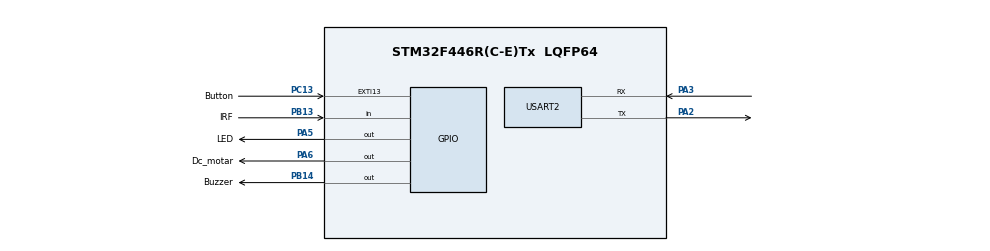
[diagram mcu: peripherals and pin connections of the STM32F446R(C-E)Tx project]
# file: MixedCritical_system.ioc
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FREERTOS.Events01=systemEvents,Dynamic,NULL
FREERTOS.Mutexes01=uartMutex,Dynamic,NULL,Available
FREERTOS.Tasks01=defaultTask,24,128,StartDefaultTask,Default,NULL,Dynamic,NULL,NULL;BreakTask,40,256,Start_Break_Task,Default,NULL,Dynamic,NULL,NULL;IRSensor,32,256,Start_IRSensor_Task,Default,NULL,Dynamic,NULL,NULL;MotorTask,25,256,Start_Motor_Task,Default,NULL,Dynamic,NULL,NULL;MonitorTask,26,256,Start_Monitor_Task,Default,NULL,Dynamic,NULL,NULL;LoggingTask,15,256,Start_Logging_Task,Default,NULL,Dynamic,NULL,NULL
FREERTOS.configUSE_IDLE_HOOK=1
FREERTOS.configUSE_NEWLIB_REENTRANT=1
Mcu.Family=STM32F4
Mcu.Name=STM32F446R(C-E)Tx
Mcu.Package=LQFP64
NVIC.EXTI15_10_IRQn=true\:5\:0\:false\:false\:true\:true\:true\:true\:true
NVIC.PriorityGroup=NVIC_PRIORITYGROUP_4
NVIC.TIM6_DAC_IRQn=true\:15\:0\:false\:false\:true\:false\:false\:true\:true
NVIC.TimeBase=TIM6_DAC_IRQn
NVIC.TimeBaseIP=TIM6
PA13.Mode=Serial_Wire
PA13.Signal=SYS_JTMS-SWDIO
PA14.Mode=Serial_Wire
PA14.Signal=SYS_JTCK-SWCLK
PA2.Mode=Asynchronous
PA2.Signal=USART2_TX
PA3.Mode=Asynchronous
PA3.Signal=USART2_RX
PA5.GPIO_Label=LED
PA5.Signal=GPIO_Output
PA6.GPIO_Label=Dc_motar
PA6.Signal=GPIO_Output
PB13.GPIO_Label=IRF
PB13.Signal=GPIO_Input
PB14.GPIO_Label=Buzzer
PB14.GPIO_ModeDefaultOutputPP=GPIO_MODE_OUTPUT_PP
PB14.Signal=GPIO_Output
PC13.GPIO_Label=Button
PC13.GPIO_ModeDefaultEXTI=GPIO_MODE_IT_FALLING
PC13.GPIO_PuPd=GPIO_PULLUP
PC13.Signal=GPXTI13
ProjectManager.HeapSize=0x200
ProjectManager.StackSize=0x400
ProjectManager.TargetToolchain=STM32CubeIDE
RCC.CortexFreq_Value=16000000
RCC.USBFreq_Value=96000000
RCC.VCOOutputFreq_Value=192000000
USART2.VirtualMode=VM_ASYNC
VP_FREERTOS_VS_CMSIS_V2.Mode=CMSIS_V2
VP_SYS_VS_tim6.Mode=TIM6
board=custom

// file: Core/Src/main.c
/* USER CODE BEGIN Header */
/**
  ******************************************************************************
  * @file           : main.c
  * @brief          : Main program body
  ******************************************************************************
  * @attention
  *
  * Copyright (c) 2026 STMicroelectronics.
  * All rights reserved.
  *
  * This software is licensed under terms that can be found in the LICENSE file
  * in the root directory of this software component.
  * If no LICENSE file comes with this software, it is provided AS-IS.
  *
  ******************************************************************************
  */
/* USER CODE END Header */
#include "main.h"
#include "cmsis_os.h"
#include <stdio.h>

/* USER CODE BEGIN PD */
#define OBSTACLE_BIT   (1 << 0)
/* USER CODE END PD */

UART_HandleTypeDef huart2;
uint32_t last_cycles = 0;

/* Definitions for defaultTask */
osThreadId_t defaultTaskHandle;
const osThreadAttr_t defaultTask_attributes = {
  .name = "defaultTask",
  .stack_size = 128 * 4,
  .priority = (osPriority_t) osPriorityNormal,
};
/* Definitions for BreakTask */
osThreadId_t BreakTaskHandle;
const osThreadAttr_t BreakTask_attributes = {
  .name = "BreakTask",
  .stack_size = 256 * 4,
  .priority = (osPriority_t) osPriorityHigh,
};
/* Definitions for IRSensor */
osThreadId_t IRSensorHandle;
const osThreadAttr_t IRSensor_attributes = {
  .name = "IRSensor",
  .stack_size = 256 * 4,
  .priority = (osPriority_t) osPriorityAboveNormal,
};
/* Definitions for MotorTask */
osThreadId_t MotorTaskHandle;
const osThreadAttr_t MotorTask_attributes = {
  .name = "MotorTask",
  .stack_size = 256 * 4,
  .priority = (osPriority_t) osPriorityNormal1,
};
/* Definitions for MonitorTask */
osThreadId_t MonitorTaskHandle;
const osThreadAttr_t MonitorTask_attributes = {
  .name = "MonitorTask",
  .stack_size = 256 * 4,
  .priority = (osPriority_t) osPriorityNormal2,
};
/* Definitions for LoggingTask */
osThreadId_t LoggingTaskHandle;
const osThreadAttr_t LoggingTask_attributes = {
  .name = "LoggingTask",
  .stack_size = 256 * 4,
  .priority = (osPriority_t) osPriorityLow7,
};
/* Definitions for uartMutex */
osMutexId_t uartMutexHandle;
const osMutexAttr_t uartMutex_attributes = {
  .name = "uartMutex"
};
/* Definitions for systemEvents */
osEventFlagsId_t systemEventsHandle;
const osEventFlagsAttr_t systemEvents_attributes = {
  .name = "systemEvents"
};

void SystemClock_Config(void);
static void MX_GPIO_Init(void);
static void MX_USART2_UART_Init(void);
void StartDefaultTask(void *argument);
void Start_Break_Task(void *argument);
void Start_IRSensor_Task(void *argument);
void Start_Motor_Task(void *argument);
void Start_Monitor_Task(void *argument);
void Start_Logging_Task(void *argument);

/* USER CODE BEGIN 0 */

volatile uint32_t idle_counter = 0;
volatile uint8_t stress_request = 0;

int __io_putchar(int ch)
{
    HAL_UART_Transmit(&huart2, (uint8_t *)&ch, 1, HAL_MAX_DELAY);
    return ch;
}

/* USER CODE END 0 */

int main(void)
{

  /* MCU Configuration--------------------------------------------------------*/

  /* Reset of all peripherals, Initializes the Flash interface and the Systick. */
  HAL_Init();

  /* Configure the system clock */
  SystemClock_Config();

  /* Initialize all configured peripherals */
  MX_GPIO_Init();
  MX_USART2_UART_Init();

  /* Init scheduler */
  osKernelInitialize();
  /* Create the mutex(es) */
  /* creation of uartMutex */
  uartMutexHandle = osMutexNew(&uartMutex_attributes);

  systemEventsHandle = osEventFlagsNew(&systemEvents_attributes);

  /* Create the thread(s) */
  /* creation of defaultTask */
  defaultTaskHandle = osThreadNew(StartDefaultTask, NULL, &defaultTask_attributes);

  /* creation of BreakTask */
  BreakTaskHandle = osThreadNew(Start_Break_Task, NULL, &BreakTask_attributes);

  /* creation of IRSensor */
  IRSensorHandle = osThreadNew(Start_IRSensor_Task, NULL, &IRSensor_attributes);

  /* creation of MotorTask */
  MotorTaskHandle = osThreadNew(Start_Motor_Task, NULL, &MotorTask_attributes);

  /* creation of MonitorTask */
  MonitorTaskHandle = osThreadNew(Start_Monitor_Task, NULL, &MonitorTask_attributes);

  /* creation of LoggingTask */
  LoggingTaskHandle = osThreadNew(Start_Logging_Task, NULL, &LoggingTask_attributes);

  /* creation of systemEvents */
 // systemEventsHandle = osEventFlagsNew(&systemEvents_attributes);

  /* Start scheduler */
  osKernelStart();

  /* We should never get here as control is now taken by the scheduler */

  /* Infinite loop */
  while (1)
  {

  }
}

void SystemClock_Config(void)
{
  RCC_OscInitTypeDef RCC_OscInitStruct = {0};
  RCC_ClkInitTypeDef RCC_ClkInitStruct = {0};

  /** Configure the main internal regulator output voltage
  */
  __HAL_RCC_PWR_CLK_ENABLE();
  __HAL_PWR_VOLTAGESCALING_CONFIG(PWR_REGULATOR_VOLTAGE_SCALE3);

  /** Initializes the RCC Oscillators according to the specified parameters
  * in the RCC_OscInitTypeDef structure.
  */
  RCC_OscInitStruct.OscillatorType = RCC_OSCILLATORTYPE_HSI;
  RCC_OscInitStruct.HSIState = RCC_HSI_ON;
  RCC_OscInitStruct.HSICalibrationValue = RCC_HSICALIBRATION_DEFAULT;
  RCC_OscInitStruct.PLL.PLLState = RCC_PLL_NONE;
  if (HAL_RCC_OscConfig(&RCC_OscInitStruct) != HAL_OK)
  {
    Error_Handler();
  }

  /** Initializes the CPU, AHB and APB buses clocks
  */
  RCC_ClkInitStruct.ClockType = RCC_CLOCKTYPE_HCLK|RCC_CLOCKTYPE_SYSCLK
                              |RCC_CLOCKTYPE_PCLK1|RCC_CLOCKTYPE_PCLK2;
  RCC_ClkInitStruct.SYSCLKSource = RCC_SYSCLKSOURCE_HSI;
  RCC_ClkInitStruct.AHBCLKDivider = RCC_SYSCLK_DIV1;
  RCC_ClkInitStruct.APB1CLKDivider = RCC_HCLK_DIV1;
  RCC_ClkInitStruct.APB2CLKDivider = RCC_HCLK_DIV1;

  if (HAL_RCC_ClockConfig(&RCC_ClkInitStruct, FLASH_LATENCY_0) != HAL_OK)
  {
    Error_Handler();
  }
}

static void MX_USART2_UART_Init(void)
{

  huart2.Instance = USART2;
  huart2.Init.BaudRate = 115200;
  huart2.Init.WordLength = UART_WORDLENGTH_8B;
  huart2.Init.StopBits = UART_STOPBITS_1;
  huart2.Init.Parity = UART_PARITY_NONE;
  huart2.Init.Mode = UART_MODE_TX_RX;
  huart2.Init.HwFlowCtl = UART_HWCONTROL_NONE;
  huart2.Init.OverSampling = UART_OVERSAMPLING_16;
  if (HAL_UART_Init(&huart2) != HAL_OK)
  {
    Error_Handler();
  }

}

static void MX_GPIO_Init(void)
{
  GPIO_InitTypeDef GPIO_InitStruct = {0};

  /* GPIO Ports Clock Enable */
  __HAL_RCC_GPIOC_CLK_ENABLE();
  __HAL_RCC_GPIOA_CLK_ENABLE();
  __HAL_RCC_GPIOB_CLK_ENABLE();

  /*Configure GPIO pin Output Level */
  HAL_GPIO_WritePin(GPIOA, LED_Pin|Dc_motar_Pin, GPIO_PIN_RESET);

  /*Configure GPIO pin Output Level */
  HAL_GPIO_WritePin(Buzzer_GPIO_Port, Buzzer_Pin, GPIO_PIN_RESET);

  /*Configure GPIO pin : Button_Pin */
  GPIO_InitStruct.Pin = Button_Pin;
  GPIO_InitStruct.Mode = GPIO_MODE_IT_FALLING;
  GPIO_InitStruct.Pull = GPIO_PULLUP;
  HAL_GPIO_Init(Button_GPIO_Port, &GPIO_InitStruct);

  /*Configure GPIO pins : LED_Pin Dc_motar_Pin */
  GPIO_InitStruct.Pin = LED_Pin|Dc_motar_Pin;
  GPIO_InitStruct.Mode = GPIO_MODE_OUTPUT_PP;
  GPIO_InitStruct.Pull = GPIO_NOPULL;
  GPIO_InitStruct.Speed = GPIO_SPEED_FREQ_LOW;
  HAL_GPIO_Init(GPIOA, &GPIO_InitStruct);

  /*Configure GPIO pin : IRF_Pin */
  GPIO_InitStruct.Pin = IRF_Pin;
  GPIO_InitStruct.Mode = GPIO_MODE_INPUT;
  GPIO_InitStruct.Pull = GPIO_NOPULL;
  HAL_GPIO_Init(IRF_GPIO_Port, &GPIO_InitStruct);

  /*Configure GPIO pin : Buzzer_Pin */
  GPIO_InitStruct.Pin = Buzzer_Pin;
  GPIO_InitStruct.Mode = GPIO_MODE_OUTPUT_PP;
  GPIO_InitStruct.Pull = GPIO_NOPULL;
  GPIO_InitStruct.Speed = GPIO_SPEED_FREQ_LOW;
  HAL_GPIO_Init(Buzzer_GPIO_Port, &GPIO_InitStruct);

  /* EXTI interrupt init*/
  HAL_NVIC_SetPriority(EXTI15_10_IRQn, 5, 0);
  HAL_NVIC_EnableIRQ(EXTI15_10_IRQn);

}

/* USER CODE BEGIN 4 */
void StressTask(void *arg)
{

	 printf("stress thread\r\n");
	 volatile float x = 1.0;

	    while(1)
	    {
	        for(int i = 0; i < 500000; i++)
	        {
	            x = x * 1.0001f;
	        }

	        osDelay(1);
	    }
}
/* USER CODE END 4 */

void StartDefaultTask(void *argument)
{
  /* USER CODE BEGIN 5 */
  /* Infinite loop */
	  for(;;)
	  {
		//HAL_GPIO_TogglePin(GPIOA, LED_Pin);
	    osDelay(500);
	  }
  /* USER CODE END 5 */
}

void Start_Break_Task(void *argument)
{
  /* USER CODE BEGIN Start_Break_Task */
  /* Infinite loop */
	static uint8_t brake_active = 0;

	 for(;;)
	  {
	      if (osEventFlagsGet(systemEventsHandle) & OBSTACLE_BIT)
	      {
	          //  OBSTACLE DETECTED
	          HAL_GPIO_WritePin(GPIOA, Dc_motar_Pin, GPIO_PIN_RESET); // motor OFF
	          HAL_GPIO_WritePin(GPIOB, Buzzer_Pin, GPIO_PIN_SET);     // buzzer ON
	      }
	      else
	      {
	          //  SAFE CONDITION
	          HAL_GPIO_WritePin(GPIOA, Dc_motar_Pin, GPIO_PIN_SET);   // motor ON
	          HAL_GPIO_WritePin(GPIOB, Buzzer_Pin, GPIO_PIN_RESET);   // buzzer OFF
	      }

	      osDelay(50);
	  }
  /* USER CODE END Start_Break_Task */
}

void Start_IRSensor_Task(void *argument)
{
  /* USER CODE BEGIN Start_IRSensor_Task */
  /* Infinite loop */
	for(;;)
	{
	    if (HAL_GPIO_ReadPin(IRF_GPIO_Port, IRF_Pin) == GPIO_PIN_RESET) // obstacle
	    {
	        osEventFlagsSet(systemEventsHandle, OBSTACLE_BIT);
	    }
	    else
	    {
	        osEventFlagsClear(systemEventsHandle, OBSTACLE_BIT);
	    }

	    osDelay(50);
	}
  /* USER CODE END Start_IRSensor_Task */
}

void Start_Motor_Task(void *argument)
{
  /* USER CODE BEGIN Start_Motor_Task */
  /* Infinite loop */

	  for(;;)
	  {
	  //  HAL_GPIO_WritePin(GPIOA, Dc_motar_Pin, GPIO_PIN_SET); // motor ON
	    osDelay(20);
	  }

  /* USER CODE END Start_Motor_Task */
}

void Start_Monitor_Task(void *argument)
{
  /* USER CODE BEGIN Start_Monitor_Task */

	    static uint8_t critical_mode = 0;
	    static uint8_t critical_printed = 0;
	    static uint8_t initialized = 0;

	    static uint32_t max_idle = 0;

	    for(;;)
	    {

	    	 if (stress_request)
	    		    {
	    		        stress_request = 0;

	    		        osThreadAttr_t stress_attr = {.priority = osPriorityAboveNormal};

	    		        osThreadNew(StressTask, NULL, &stress_attr);

	    		        osMutexAcquire(uartMutexHandle, osWaitForever);
	    		        printf("Stress Task Started\r\n");
	    		        osMutexRelease(uartMutexHandle);
	    		    }

	        //  FIRST TIME → CALIBRATION (system idle reference)
	        if (!initialized)
	        {
	            idle_counter = 0;

	            osDelay(2000);   // allow system to stabilize

	            max_idle = idle_counter;   // store max idle
	            initialized = 1;

	            osMutexAcquire(uartMutexHandle, osWaitForever);
	            printf("Calibration Done: %lu\r\n", max_idle);
	            osMutexRelease(uartMutexHandle);

	            continue;  // skip first measurement
	        }

	        //  NORMAL MEASUREMENT WINDOW
	        idle_counter = 0;

	        osDelay(1000);

	        uint32_t current_idle = idle_counter;

	        //  CPU LOAD CALCULATION
	        float cpu = 100.0f - ((float)current_idle / max_idle) * 100.0f;

	        if (cpu > 100) cpu = 100;
	        if (cpu < 0) cpu = 0;

	        //  ENTER CRITICAL MODE
	        if (!critical_mode && cpu > 80.0f)
	        {
	            critical_mode = 1;
	        }

	        //  PRINT ONLY ONCE
	        if (critical_mode && !critical_printed)
	        {
	            critical_printed = 1;

	            osMutexAcquire(uartMutexHandle, osWaitForever);
	            printf("\r\n===== CRITICAL MODE =====\r\n");
	            printf("CPU = %d%%\r\n", (int)cpu);
	            printf("Critical Tasks Running: IR, Brake, Motor\r\n");
	            printf("Non-Critical Tasks Stopped: Logging, LED\r\n");
	            osMutexRelease(uartMutexHandle);

	            osThreadSuspend(LoggingTaskHandle);
	        }

	        //  NORMAL MODE PRINT
	        if (!critical_mode)
	        {
	            osMutexAcquire(uartMutexHandle, osWaitForever);

	            if (osEventFlagsGet(systemEventsHandle) & OBSTACLE_BIT)
	                printf("System Running | Obstacle Detected | CPU = %d%%\r\n", (int)cpu);
	            else
	                printf("System Running | No Obstacle | CPU = %d%%\r\n", (int)cpu);

	            osMutexRelease(uartMutexHandle);
	        }
	        else
	        {
	            //  critical mode LED indication
	            HAL_GPIO_TogglePin(GPIOA, LED_Pin);
	        }
	    }

  /* USER CODE END Start_Monitor_Task */
}

void Start_Logging_Task(void *argument)
{
  /* USER CODE BEGIN Start_Logging_Task */
  /* Infinite loop */
	 for(;;)
	  {
	    osMutexAcquire(uartMutexHandle, osWaitForever);
	    printf("LOG\r\n");
	    osMutexRelease(uartMutexHandle);

	    osDelay(1000);
	  }

  /* USER CODE END Start_Logging_Task */
}
void HAL_GPIO_EXTI_Callback(uint16_t GPIO_Pin)
{
	 if (GPIO_Pin == GPIO_PIN_13)
	    {
	        stress_request = 1;
	    }
}
void HAL_TIM_PeriodElapsedCallback(TIM_HandleTypeDef *htim)
{
  if (htim->Instance == TIM6)
  {
    HAL_IncTick();
  }
}

void Error_Handler(void)
{
  __disable_irq();
  while (1)
  {
  }
}

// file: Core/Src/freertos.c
/* USER CODE BEGIN Header */
/**
  ******************************************************************************
  * File Name          : freertos.c
  * Description        : Code for freertos applications
  ******************************************************************************
  * @attention
  *
  * Copyright (c) 2026 STMicroelectronics.
  * All rights reserved.
  *
  * This software is licensed under terms that can be found in the LICENSE file
  * in the root directory of this software component.
  * If no LICENSE file comes with this software, it is provided AS-IS.
  *
  ******************************************************************************
  */
/* USER CODE END Header */

#include "FreeRTOS.h"
#include "task.h"
#include "main.h"

/* Hook prototypes */
void vApplicationIdleHook(void);

/* USER CODE BEGIN 2 */
extern volatile uint32_t idle_counter;

void vApplicationIdleHook(void)
{
	idle_counter++;
}
/* USER CODE END 2 */
